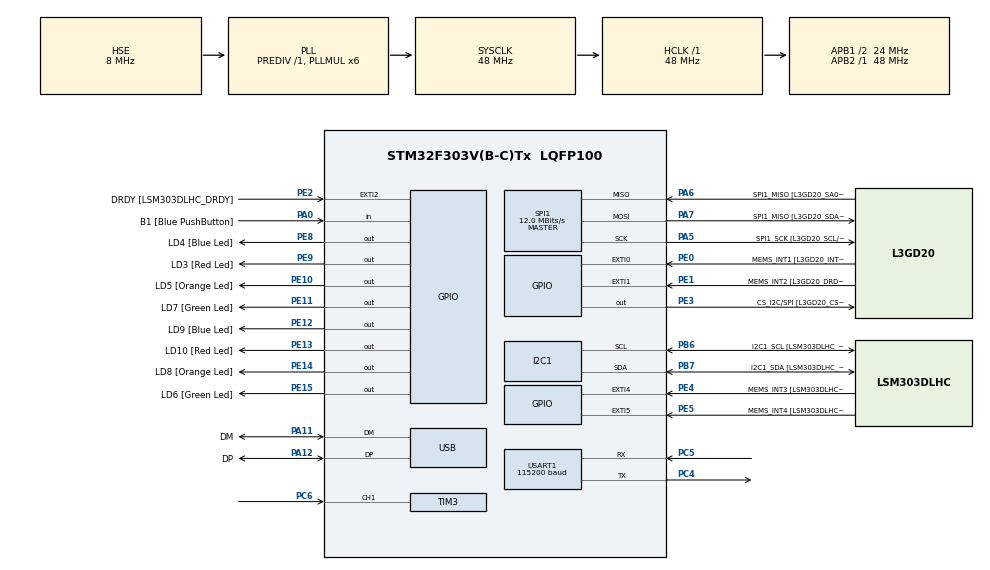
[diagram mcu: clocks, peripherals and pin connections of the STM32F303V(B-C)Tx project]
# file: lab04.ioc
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I2C1.Timing=0x00201D2B
I2C1.Timing-I2C=0x2000090E
Mcu.Family=STM32F3
Mcu.Name=STM32F303V(B-C)Tx
Mcu.Package=LQFP100
NVIC.PriorityGroup=NVIC_PRIORITYGROUP_0
NVIC.TIM2_IRQn=true\:0\:0\:false\:false\:true\:true\:true\:true
NVIC.TIM3_IRQn=true\:0\:0\:false\:false\:true\:true\:true\:true
NVIC.USB_LP_CAN_RX0_IRQn=true\:0\:0\:false\:false\:true\:false\:true\:true
PA0.GPIO_Label=B1 [Blue PushButton]
PA0.Signal=GPIO_Input
PA11.GPIO_Label=DM
PA11.Mode=Device
PA11.Signal=USB_DM
PA12.GPIO_Label=DP
PA12.Mode=Device
PA12.Signal=USB_DP
PA13.GPIO_Label=SWDIO
PA13.Mode=Serial_Wire
PA13.Signal=SYS_JTMS-SWDIO
PA14.GPIO_Label=SWCLK
PA14.Mode=Serial_Wire
PA14.Signal=SYS_JTCK-SWCLK
PA5.GPIO_Label=SPI1_SCK [L3GD20_SCL/SPC]
PA5.Mode=Full_Duplex_Master
PA5.Signal=SPI1_SCK
PA6.GPIO_Label=SPI1_MISO [L3GD20_SA0/SDO]
PA6.Mode=Full_Duplex_Master
PA6.Signal=SPI1_MISO
PA7.GPIO_Label=SPI1_MISO [L3GD20_SDA/SDI/SDO]
PA7.Mode=Full_Duplex_Master
PA7.Signal=SPI1_MOSI
PB3.GPIO_Label=SWO
PB3.Signal=SYS_JTDO-TRACESWO
PB6.GPIO_Label=I2C1_SCL [LSM303DLHC_SCL]
PB6.GPIO_Pu=GPIO_PULLUP
PB6.Mode=I2C
PB6.Signal=I2C1_SCL
PB7.GPIO_Label=I2C1_SDA [LSM303DLHC_SDA]
PB7.GPIO_Pu=GPIO_PULLUP
PB7.Mode=I2C
PB7.Signal=I2C1_SDA
PC14-OSC32_IN.GPIO_Label=OSC32_IN
PC14-OSC32_IN.Signal=RCC_OSC32_IN
PC15-OSC32_OUT.GPIO_Label=OSC32_OUT
PC15-OSC32_OUT.Signal=RCC_OSC32_OUT
PC4.Mode=Asynchronous
PC4.Signal=USART1_TX
PC5.Mode=Asynchronous
PC5.Signal=USART1_RX
PC6.Signal=S_TIM3_CH1
PE0.GPIO_Label=MEMS_INT1 [L3GD20_INT1]
PE0.GPIO_ModeDefaultEXTI=GPIO_MODE_EVT_RISING
PE0.Signal=GPXTI0
PE1.GPIO_Label=MEMS_INT2 [L3GD20_DRDY/INT2]
PE1.GPIO_ModeDefaultEXTI=GPIO_MODE_EVT_RISING
PE1.Signal=GPXTI1
PE10.GPIO_Label=LD5 [Orange Led]
PE10.Signal=GPIO_Output
PE11.GPIO_Label=LD7 [Green Led]
PE11.Signal=GPIO_Output
PE12.GPIO_Label=LD9 [Blue Led]
PE12.Signal=GPIO_Output
PE13.GPIO_Label=LD10 [Red Led]
PE13.Signal=GPIO_Output
PE14.GPIO_Label=LD8 [Orange Led]
PE14.Signal=GPIO_Output
PE15.GPIO_Label=LD6 [Green Led]
PE15.Signal=GPIO_Output
PE2.GPIO_Label=DRDY [LSM303DLHC_DRDY]
PE2.GPIO_ModeDefaultEXTI=GPIO_MODE_EVT_RISING
PE2.Signal=GPXTI2
PE3.GPIO_Label=CS_I2C/SPI [L3GD20_CS_I2C/SPI]
PE3.Signal=GPIO_Output
PE4.GPIO_Label=MEMS_INT3 [LSM303DLHC_INT1]
PE4.GPIO_ModeDefaultEXTI=GPIO_MODE_EVT_RISING
PE4.Signal=GPXTI4
PE5.GPIO_Label=MEMS_INT4 [LSM303DLHC_INT2]
PE5.GPIO_ModeDefaultEXTI=GPIO_MODE_EVT_RISING
PE5.Signal=GPXTI5
PE8.GPIO_Label=LD4 [Blue Led]
PE8.Signal=GPIO_Output
PE9.GPIO_Label=LD3 [Red Led]
PE9.Signal=GPIO_Output
PF0-OSC_IN.GPIO_Label=OSC_IN
PF0-OSC_IN.Mode=HSE-External-Clock-Source
PF0-OSC_IN.Signal=RCC_OSC_IN
PF1-OSC_OUT.GPIO_Label=OSC_OUT
PF1-OSC_OUT.Signal=RCC_OSC_OUT
ProjectManager.HeapSize=0x200
ProjectManager.StackSize=0x400
ProjectManager.TargetToolchain=CMake
RCC.AHBFreq_Value=48000000
RCC.APB1CLKDivider=RCC_HCLK_DIV2
RCC.APB1Freq_Value=24000000
RCC.APB1TimFreq_Value=48000000
RCC.APB2Freq_Value=48000000
RCC.APB2TimFreq_Value=48000000
RCC.CortexFreq_Value=48000000
RCC.HCLKFreq_Value=48000000
RCC.HSE_VALUE=8000000
RCC.HSI_VALUE=8000000
RCC.LSE_VALUE=32768
RCC.PLLMUL=RCC_PLL_MUL6
RCC.PLLSourceVirtual=RCC_PLLSOURCE_HSE
RCC.SYSCLKFreq_VALUE=48000000
RCC.SYSCLKSourceVirtual=RCC_SYSCLKSOURCE_PLLCLK
RCC.USBFreq_Value=48000000
SH.S_TIM3_CH1.0=TIM3_CH1,Input_Capture1_from_TI1
SPI1.BaudRatePrescaler=SPI_BAUDRATEPRESCALER_4
SPI1.BaudRatePrescaler-Full_Duplex_Master=SPI_BAUDRATEPRESCALER_2
SPI1.CalculateBaudRate=12.0 MBits/s
SPI1.CalculateBaudRate-Full_Duplex_Master=24.0 MBits/s
SPI1.Direction=SPI_DIRECTION_2LINES
SPI1.Mode=SPI_MODE_MASTER
SPI1.Mode-Full_Duplex_Master=SPI_MODE_MASTER
SPI1.VirtualType=VM_MASTER
TIM2.AutoReloadPreload=TIM_AUTORELOAD_PRELOAD_ENABLE
TIM2.Period=999
TIM2.Prescaler=479
TIM3.Channel-Input_Capture1_from_TI1=TIM_CHANNEL_1
TIM3.Prescaler=47
USART1.BaudRate=115200
USART1.VirtualMode-Asynchronous=VM_ASYNC
USB_DEVICE.CLASS_NAME_FS=CDC
USB_DEVICE.VirtualMode=Cdc
USB_DEVICE.VirtualModeFS=Cdc_FS
VP_TIM2_VS_ClockSourceINT.Mode=Internal
VP_TIM3_VS_ClockSourceINT.Mode=Internal
VP_USB_DEVICE_VS_USB_DEVICE_CDC_FS.Mode=CDC_FS
board=STM32F3DISCOVERY

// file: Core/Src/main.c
/* USER CODE BEGIN Header */
/**
  ******************************************************************************
  * @file           : main.c
  * @brief          : Main program body
  ******************************************************************************
  * @attention
  *
  * Copyright (c) 2026 STMicroelectronics.
  * All rights reserved.
  *
  * This software is licensed under terms that can be found in the LICENSE file
  * in the root directory of this software component.
  * If no LICENSE file comes with this software, it is provided AS-IS.
  *
  ******************************************************************************
  */
/* USER CODE END Header */
#include "main.h"
#include "stm32f3xx_hal.h"
#include "usb_device.h"
#include <stdarg.h>
#include <stdio.h>

I2C_HandleTypeDef hi2c1;

SPI_HandleTypeDef hspi1;

TIM_HandleTypeDef htim2;
TIM_HandleTypeDef htim3;

UART_HandleTypeDef huart1;

void SystemClock_Config(void);
static void MX_GPIO_Init(void);
static void MX_I2C1_Init(void);
static void MX_SPI1_Init(void);
static void MX_TIM2_Init(void);
static void MX_TIM3_Init(void);
static void MX_USART1_UART_Init(void);
/* USER CODE BEGIN PFP */
// void delay_ms(uint32_t ms)
// {
//   __HAL_TIM_SetCounter(&htim2, 0);
//   HAL_TIM_Base_Start(&htim2);
//   while (__HAL_TIM_GET_COUNTER(&htim2) < ms){}
//   HAL_TIM_Base_Stop(&htim2);
// }
/* USER CODE END PFP */

/* USER CODE BEGIN 0 */
void myPrintf (const char *fmt , ...){
      char buffer[256];
      va_list args;
      va_start (args, fmt);
      int len = vsnprintf (buffer, sizeof(buffer), fmt, args);
      va_end (args);
      HAL_UART_Transmit(&huart1, (uint8_t*)buffer, len, HAL_MAX_DELAY);
  }
uint32_t capture1 = 0, capture2 = 0;
uint32_t diff = 0, frequency = 0;
uint8_t is_first_capture = 1;
void HAL_TIM_IC_CaptureCallback(TIM_HandleTypeDef *htim) {
    if (htim->Channel == HAL_TIM_ACTIVE_CHANNEL_1) {
      if (is_first_capture) {
        // Capture the first rising edge
        capture1 = HAL_TIM_ReadCapturedValue(htim, TIM_CHANNEL_1);
        is_first_capture = 0;
      } else {
        // Capture the second rising edge
        capture2 = HAL_TIM_ReadCapturedValue(htim, TIM_CHANNEL_1);
        // Handle 16-bit counter rollover
      if (capture2 > capture1) {
        diff = capture2 - capture1;
      } else {
        diff = (0xFFFF - capture1) + capture2;
      }
        // Calculate Frequency (Timer Clock = 1 MHz)
      if (diff != 0) {
        frequency = 1000000 / diff;
      }
        is_first_capture = 1; // Reset for next reading
      }
    }
  }

/* USER CODE END 0 */

int main(void)
{

  /* MCU Configuration--------------------------------------------------------*/

  /* Reset of all peripherals, Initializes the Flash interface and the Systick. */
  HAL_Init();

  /* Configure the system clock */
  SystemClock_Config();

  /* Initialize all configured peripherals */
  MX_GPIO_Init();
  MX_I2C1_Init();
  MX_SPI1_Init();
  MX_TIM2_Init();
  MX_TIM3_Init();
  MX_USART1_UART_Init();
  MX_USB_DEVICE_Init();

  /* Infinite loop */
  /* USER CODE BEGIN WHILE */
  HAL_TIM_Base_Start_IT (& htim2);
  HAL_TIM_IC_Start_IT (& htim3 , TIM_CHANNEL_1 );
  while (1)
  {
    /* USER CODE END WHILE */
    myPrintf("Measured Frequency= %d Hz \r\n",frequency);
    HAL_Delay(500);
  }
}

void SystemClock_Config(void)
{
  RCC_OscInitTypeDef RCC_OscInitStruct = {0};
  RCC_ClkInitTypeDef RCC_ClkInitStruct = {0};
  RCC_PeriphCLKInitTypeDef PeriphClkInit = {0};

  /** Initializes the RCC Oscillators according to the specified parameters
  * in the RCC_OscInitTypeDef structure.
  */
  RCC_OscInitStruct.OscillatorType = RCC_OSCILLATORTYPE_HSI|RCC_OSCILLATORTYPE_HSE;
  RCC_OscInitStruct.HSEState = RCC_HSE_BYPASS;
  RCC_OscInitStruct.HSEPredivValue = RCC_HSE_PREDIV_DIV1;
  RCC_OscInitStruct.HSIState = RCC_HSI_ON;
  RCC_OscInitStruct.HSICalibrationValue = RCC_HSICALIBRATION_DEFAULT;
  RCC_OscInitStruct.PLL.PLLState = RCC_PLL_ON;
  RCC_OscInitStruct.PLL.PLLSource = RCC_PLLSOURCE_HSE;
  RCC_OscInitStruct.PLL.PLLMUL = RCC_PLL_MUL6;
  if (HAL_RCC_OscConfig(&RCC_OscInitStruct) != HAL_OK)
  {
    Error_Handler();
  }

  /** Initializes the CPU, AHB and APB buses clocks
  */
  RCC_ClkInitStruct.ClockType = RCC_CLOCKTYPE_HCLK|RCC_CLOCKTYPE_SYSCLK
                              |RCC_CLOCKTYPE_PCLK1|RCC_CLOCKTYPE_PCLK2;
  RCC_ClkInitStruct.SYSCLKSource = RCC_SYSCLKSOURCE_PLLCLK;
  RCC_ClkInitStruct.AHBCLKDivider = RCC_SYSCLK_DIV1;
  RCC_ClkInitStruct.APB1CLKDivider = RCC_HCLK_DIV2;
  RCC_ClkInitStruct.APB2CLKDivider = RCC_HCLK_DIV1;

  if (HAL_RCC_ClockConfig(&RCC_ClkInitStruct, FLASH_LATENCY_1) != HAL_OK)
  {
    Error_Handler();
  }
  PeriphClkInit.PeriphClockSelection = RCC_PERIPHCLK_USB|RCC_PERIPHCLK_USART1
                              |RCC_PERIPHCLK_I2C1;
  PeriphClkInit.Usart1ClockSelection = RCC_USART1CLKSOURCE_PCLK2;
  PeriphClkInit.I2c1ClockSelection = RCC_I2C1CLKSOURCE_HSI;
  PeriphClkInit.USBClockSelection = RCC_USBCLKSOURCE_PLL;
  if (HAL_RCCEx_PeriphCLKConfig(&PeriphClkInit) != HAL_OK)
  {
    Error_Handler();
  }
}

static void MX_I2C1_Init(void)
{

  hi2c1.Instance = I2C1;
  hi2c1.Init.Timing = 0x00201D2B;
  hi2c1.Init.OwnAddress1 = 0;
  hi2c1.Init.AddressingMode = I2C_ADDRESSINGMODE_7BIT;
  hi2c1.Init.DualAddressMode = I2C_DUALADDRESS_DISABLE;
  hi2c1.Init.OwnAddress2 = 0;
  hi2c1.Init.OwnAddress2Masks = I2C_OA2_NOMASK;
  hi2c1.Init.GeneralCallMode = I2C_GENERALCALL_DISABLE;
  hi2c1.Init.NoStretchMode = I2C_NOSTRETCH_DISABLE;
  if (HAL_I2C_Init(&hi2c1) != HAL_OK)
  {
    Error_Handler();
  }

  /** Configure Analogue filter
  */
  if (HAL_I2CEx_ConfigAnalogFilter(&hi2c1, I2C_ANALOGFILTER_ENABLE) != HAL_OK)
  {
    Error_Handler();
  }

  /** Configure Digital filter
  */
  if (HAL_I2CEx_ConfigDigitalFilter(&hi2c1, 0) != HAL_OK)
  {
    Error_Handler();
  }

}

static void MX_SPI1_Init(void)
{

  /* SPI1 parameter configuration*/
  hspi1.Instance = SPI1;
  hspi1.Init.Mode = SPI_MODE_MASTER;
  hspi1.Init.Direction = SPI_DIRECTION_2LINES;
  hspi1.Init.DataSize = SPI_DATASIZE_4BIT;
  hspi1.Init.CLKPolarity = SPI_POLARITY_LOW;
  hspi1.Init.CLKPhase = SPI_PHASE_1EDGE;
  hspi1.Init.NSS = SPI_NSS_SOFT;
  hspi1.Init.BaudRatePrescaler = SPI_BAUDRATEPRESCALER_4;
  hspi1.Init.FirstBit = SPI_FIRSTBIT_MSB;
  hspi1.Init.TIMode = SPI_TIMODE_DISABLE;
  hspi1.Init.CRCCalculation = SPI_CRCCALCULATION_DISABLE;
  hspi1.Init.CRCPolynomial = 7;
  hspi1.Init.CRCLength = SPI_CRC_LENGTH_DATASIZE;
  hspi1.Init.NSSPMode = SPI_NSS_PULSE_ENABLE;
  if (HAL_SPI_Init(&hspi1) != HAL_OK)
  {
    Error_Handler();
  }

}

static void MX_TIM2_Init(void)
{

  TIM_ClockConfigTypeDef sClockSourceConfig = {0};
  TIM_MasterConfigTypeDef sMasterConfig = {0};

  htim2.Instance = TIM2;
  htim2.Init.Prescaler = 479;
  htim2.Init.CounterMode = TIM_COUNTERMODE_UP;
  htim2.Init.Period = 999;
  htim2.Init.ClockDivision = TIM_CLOCKDIVISION_DIV1;
  htim2.Init.AutoReloadPreload = TIM_AUTORELOAD_PRELOAD_ENABLE;
  if (HAL_TIM_Base_Init(&htim2) != HAL_OK)
  {
    Error_Handler();
  }
  sClockSourceConfig.ClockSource = TIM_CLOCKSOURCE_INTERNAL;
  if (HAL_TIM_ConfigClockSource(&htim2, &sClockSourceConfig) != HAL_OK)
  {
    Error_Handler();
  }
  sMasterConfig.MasterOutputTrigger = TIM_TRGO_RESET;
  sMasterConfig.MasterSlaveMode = TIM_MASTERSLAVEMODE_DISABLE;
  if (HAL_TIMEx_MasterConfigSynchronization(&htim2, &sMasterConfig) != HAL_OK)
  {
    Error_Handler();
  }

}

static void MX_TIM3_Init(void)
{

  TIM_ClockConfigTypeDef sClockSourceConfig = {0};
  TIM_MasterConfigTypeDef sMasterConfig = {0};
  TIM_IC_InitTypeDef sConfigIC = {0};

  htim3.Instance = TIM3;
  htim3.Init.Prescaler = 47;
  htim3.Init.CounterMode = TIM_COUNTERMODE_UP;
  htim3.Init.Period = 65535;
  htim3.Init.ClockDivision = TIM_CLOCKDIVISION_DIV1;
  htim3.Init.AutoReloadPreload = TIM_AUTORELOAD_PRELOAD_DISABLE;
  if (HAL_TIM_Base_Init(&htim3) != HAL_OK)
  {
    Error_Handler();
  }
  sClockSourceConfig.ClockSource = TIM_CLOCKSOURCE_INTERNAL;
  if (HAL_TIM_ConfigClockSource(&htim3, &sClockSourceConfig) != HAL_OK)
  {
    Error_Handler();
  }
  if (HAL_TIM_IC_Init(&htim3) != HAL_OK)
  {
    Error_Handler();
  }
  sMasterConfig.MasterOutputTrigger = TIM_TRGO_RESET;
  sMasterConfig.MasterSlaveMode = TIM_MASTERSLAVEMODE_DISABLE;
  if (HAL_TIMEx_MasterConfigSynchronization(&htim3, &sMasterConfig) != HAL_OK)
  {
    Error_Handler();
  }
  sConfigIC.ICPolarity = TIM_INPUTCHANNELPOLARITY_RISING;
  sConfigIC.ICSelection = TIM_ICSELECTION_DIRECTTI;
  sConfigIC.ICPrescaler = TIM_ICPSC_DIV1;
  sConfigIC.ICFilter = 0;
  if (HAL_TIM_IC_ConfigChannel(&htim3, &sConfigIC, TIM_CHANNEL_1) != HAL_OK)
  {
    Error_Handler();
  }

}

static void MX_USART1_UART_Init(void)
{

  huart1.Instance = USART1;
  huart1.Init.BaudRate = 115200;
  huart1.Init.WordLength = UART_WORDLENGTH_8B;
  huart1.Init.StopBits = UART_STOPBITS_1;
  huart1.Init.Parity = UART_PARITY_NONE;
  huart1.Init.Mode = UART_MODE_TX_RX;
  huart1.Init.HwFlowCtl = UART_HWCONTROL_NONE;
  huart1.Init.OverSampling = UART_OVERSAMPLING_16;
  huart1.Init.OneBitSampling = UART_ONE_BIT_SAMPLE_DISABLE;
  huart1.AdvancedInit.AdvFeatureInit = UART_ADVFEATURE_NO_INIT;
  if (HAL_UART_Init(&huart1) != HAL_OK)
  {
    Error_Handler();
  }

}

static void MX_GPIO_Init(void)
{
  GPIO_InitTypeDef GPIO_InitStruct = {0};

  /* GPIO Ports Clock Enable */
  __HAL_RCC_GPIOE_CLK_ENABLE();
  __HAL_RCC_GPIOC_CLK_ENABLE();
  __HAL_RCC_GPIOF_CLK_ENABLE();
  __HAL_RCC_GPIOA_CLK_ENABLE();
  __HAL_RCC_GPIOB_CLK_ENABLE();

  /*Configure GPIO pin Output Level */
  HAL_GPIO_WritePin(GPIOE, CS_I2C_SPI_Pin|LD4_Pin|LD3_Pin|LD5_Pin
                          |LD7_Pin|LD9_Pin|LD10_Pin|LD8_Pin
                          |LD6_Pin, GPIO_PIN_RESET);

  /*Configure GPIO pins : DRDY_Pin MEMS_INT3_Pin MEMS_INT4_Pin MEMS_INT1_Pin
                           MEMS_INT2_Pin */
  GPIO_InitStruct.Pin = DRDY_Pin|MEMS_INT3_Pin|MEMS_INT4_Pin|MEMS_INT1_Pin
                          |MEMS_INT2_Pin;
  GPIO_InitStruct.Mode = GPIO_MODE_EVT_RISING;
  GPIO_InitStruct.Pull = GPIO_NOPULL;
  HAL_GPIO_Init(GPIOE, &GPIO_InitStruct);

  /*Configure GPIO pins : CS_I2C_SPI_Pin LD4_Pin LD3_Pin LD5_Pin
                           LD7_Pin LD9_Pin LD10_Pin LD8_Pin
                           LD6_Pin */
  GPIO_InitStruct.Pin = CS_I2C_SPI_Pin|LD4_Pin|LD3_Pin|LD5_Pin
                          |LD7_Pin|LD9_Pin|LD10_Pin|LD8_Pin
                          |LD6_Pin;
  GPIO_InitStruct.Mode = GPIO_MODE_OUTPUT_PP;
  GPIO_InitStruct.Pull = GPIO_NOPULL;
  GPIO_InitStruct.Speed = GPIO_SPEED_FREQ_LOW;
  HAL_GPIO_Init(GPIOE, &GPIO_InitStruct);

  /*Configure GPIO pin : B1_Pin */
  GPIO_InitStruct.Pin = B1_Pin;
  GPIO_InitStruct.Mode = GPIO_MODE_INPUT;
  GPIO_InitStruct.Pull = GPIO_NOPULL;
  HAL_GPIO_Init(B1_GPIO_Port, &GPIO_InitStruct);

}

void Error_Handler(void)
{
  __disable_irq();
  while (1)
  {
  }
}
